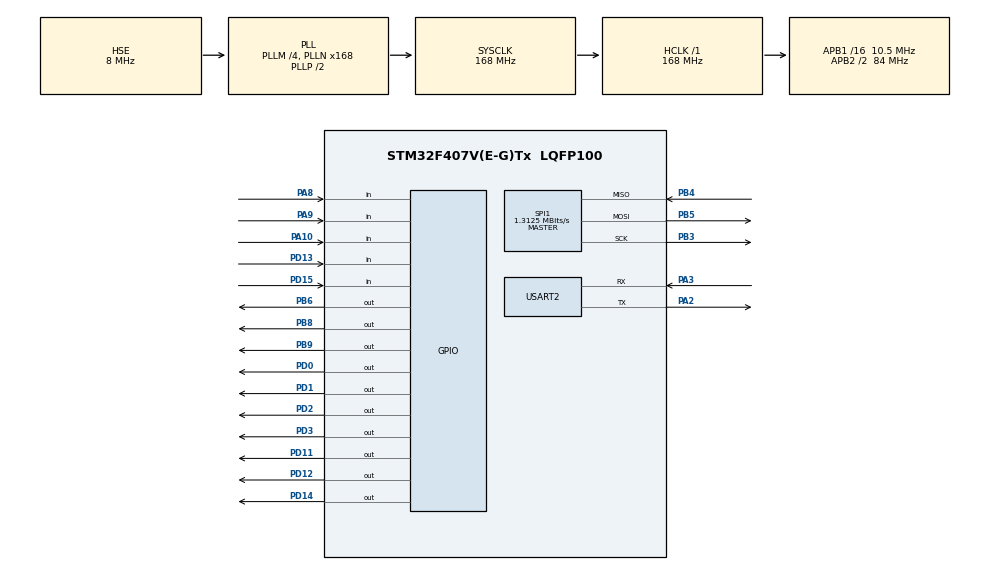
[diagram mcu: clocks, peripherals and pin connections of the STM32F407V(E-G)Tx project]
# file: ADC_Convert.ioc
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Mcu.Family=STM32F4
Mcu.Name=STM32F407V(E-G)Tx
Mcu.Package=LQFP100
NVIC.PriorityGroup=NVIC_PRIORITYGROUP_4
NVIC.RCC_IRQn=true\:0\:0\:false\:false\:true\:true\:false
PA10.Signal=GPIO_Input
PA2.Mode=Asynchronous
PA2.Signal=USART2_TX
PA3.Mode=Asynchronous
PA3.Signal=USART2_RX
PA8.Signal=GPIO_Input
PA9.Signal=GPIO_Input
PB3.Mode=Full_Duplex_Master
PB3.Signal=SPI1_SCK
PB4.Mode=Full_Duplex_Master
PB4.Signal=SPI1_MISO
PB5.Mode=Full_Duplex_Master
PB5.Signal=SPI1_MOSI
PB6.Signal=GPIO_Output
PB8.Signal=GPIO_Output
PB9.Signal=GPIO_Output
PC14-OSC32_IN.Mode=LSE-External-Oscillator
PC14-OSC32_IN.Signal=RCC_OSC32_IN
PC15-OSC32_OUT.Mode=LSE-External-Oscillator
PC15-OSC32_OUT.Signal=RCC_OSC32_OUT
PD0.Signal=GPIO_Output
PD1.Signal=GPIO_Output
PD11.Signal=GPIO_Output
PD12.Signal=GPIO_Output
PD13.Signal=GPIO_Input
PD14.Signal=GPIO_Output
PD15.Signal=GPIO_Input
PD2.Signal=GPIO_Output
PD3.Signal=GPIO_Output
PH0-OSC_IN.Mode=HSE-External-Oscillator
PH0-OSC_IN.Signal=RCC_OSC_IN
PH1-OSC_OUT.Mode=HSE-External-Oscillator
PH1-OSC_OUT.Signal=RCC_OSC_OUT
ProjectManager.HeapSize=0x200
ProjectManager.StackSize=0x400
ProjectManager.TargetToolchain=STM32CubeIDE
RCC.48MHZClocksFreq_Value=84000000
RCC.AHBFreq_Value=168000000
RCC.APB1CLKDivider=RCC_HCLK_DIV16
RCC.APB1Freq_Value=10500000
RCC.APB1TimFreq_Value=21000000
RCC.APB2CLKDivider=RCC_HCLK_DIV2
RCC.APB2Freq_Value=84000000
RCC.APB2TimFreq_Value=168000000
RCC.CortexFreq_Value=168000000
RCC.HCLKFreq_Value=168000000
RCC.HSE_VALUE=8000000
RCC.HSI_VALUE=16000000
RCC.PLLM=4
RCC.PLLN=168
RCC.PLLSourceVirtual=RCC_PLLSOURCE_HSE
RCC.SYSCLKFreq_VALUE=168000000
RCC.SYSCLKSource=RCC_SYSCLKSOURCE_PLLCLK
RCC.VCOOutputFreq_Value=336000000
SPI1.BaudRatePrescaler=SPI_BAUDRATEPRESCALER_64
SPI1.CalculateBaudRate=1.3125 MBits/s
SPI1.Direction=SPI_DIRECTION_2LINES
SPI1.Mode=SPI_MODE_MASTER
SPI1.VirtualType=VM_MASTER
USART2.VirtualMode=VM_ASYNC
board=custom

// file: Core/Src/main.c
/* USER CODE BEGIN Header */
/**
  ******************************************************************************
  * @file           : main.c
  * @brief          : Main program body
  ******************************************************************************
  * @attention
  *
  * <h2><center>&copy; Copyright (c) 2020 STMicroelectronics.
  * All rights reserved.</center></h2>
  *
  * This software component is licensed by ST under BSD 3-Clause license,
  * the "License"; You may not use this file except in compliance with the
  * License. You may obtain a copy of the License at:
  *                        opensource.org/licenses/BSD-3-Clause
  *
  ******************************************************************************
  */
/* USER CODE END Header */
#include "main.h"

/* USER CODE BEGIN Includes */

#include "ADC_ini.h"
#include "Usart_2_ini.h"
#include "string.h"
#include "lcd_ini.h"
#include "termo_spi.h"

/* USER CODE END Includes */

/* USER CODE BEGIN PM */
#define MAX_6675_CS_SET()   HAL_GPIO_WritePin(GPIOB, GPIO_PIN_6, GPIO_PIN_RESET)// незнанаю где chip select)
#define MAX_6675_CS_RESET() HAL_GPIO_WritePin(GPIOB, GPIO_PIN_6, GPIO_PIN_SET) // chip select  1

//проверка микросхемы

#define MAX_6675_OK    1
#define MAX_6675_ERROR 0

// ФУнкция возрата значение микросхемы

 uint8_t max6675_ReadReg (uint16_t *reg);

// перевод принятых данных в температуру
 float max6675_temp(uint16_t reg);

/* USER CODE END PM */

SPI_HandleTypeDef hspi1;

UART_HandleTypeDef huart2;

/* USER CODE BEGIN PV */
uint16_t ADC_Data; // gth

/* USER CODE END PV */

void SystemClock_Config(void);
static void MX_GPIO_Init(void);
static void MX_USART2_UART_Init(void);
static void MX_SPI1_Init(void);

/* USER CODE BEGIN 0 */
 uint8_t anshwer = 0;
 uint16_t reg = 0; // переменная  хранинщая данные регистра микросхемы
 float temper = 0; // переменая хранищая температуру
 //uint8_t string[10] {0};
/* USER CODE END 0 */

int main(void)
{
  /* USER CODE BEGIN 1 */
 float u;
 char str[]="tempature ds18b20";

  /* USER CODE END 1 */

  /* MCU Configuration--------------------------------------------------------*/

  /* Reset of all peripherals, Initializes the Flash interface and the Systick. */
  HAL_Init();

  /* Configure the system clock */
  SystemClock_Config();

  /* Initialize all configured peripherals */
  MX_GPIO_Init();
  MX_USART2_UART_Init();
  MX_SPI1_Init();
  /* USER CODE BEGIN 2 */
    LCD_INI();  // функция инилизация дисплея
    LCD_String(str); //

  /* USER CODE END 2 */

  /* Infinite loop */
  /* USER CODE BEGIN WHILE */
  while (1)
  {

	 u=((float)HAL_ADC_GetValue(&hadc1))*(float)3.3/(float)4096;//

	  usart_transmit();
	  HAL_Delay(200);
	   // прочитать данные с микросхемы
	 anshwer= max6675Readreg(&reg); // функция
	 // если все нормально прееобразуем в температуру
	 if(anshwer== MAX_6675_OK)
	 {

		temper = max6675Temp(reg);
		// отформатируем текст

		//sprintf((*char)string, "Tempature =%o,2f\n\r", temper );

		// если датчик оторпван
	 }
	 else
	 {
		// strintf ((char)string, "warning error"\n\r,temper);
	 }

    /* USER CODE END WHILE */

  }
}

void SystemClock_Config(void)
{
  RCC_OscInitTypeDef RCC_OscInitStruct = {0};
  RCC_ClkInitTypeDef RCC_ClkInitStruct = {0};

  /** Configure the main internal regulator output voltage
  */
  __HAL_RCC_PWR_CLK_ENABLE();
  __HAL_PWR_VOLTAGESCALING_CONFIG(PWR_REGULATOR_VOLTAGE_SCALE1);
  /** Initializes the RCC Oscillators according to the specified parameters
  * in the RCC_OscInitTypeDef structure.
  */
  RCC_OscInitStruct.OscillatorType = RCC_OSCILLATORTYPE_HSE;
  RCC_OscInitStruct.HSEState = RCC_HSE_ON;
  RCC_OscInitStruct.PLL.PLLState = RCC_PLL_ON;
  RCC_OscInitStruct.PLL.PLLSource = RCC_PLLSOURCE_HSE;
  RCC_OscInitStruct.PLL.PLLM = 4;
  RCC_OscInitStruct.PLL.PLLN = 168;
  RCC_OscInitStruct.PLL.PLLP = RCC_PLLP_DIV2;
  RCC_OscInitStruct.PLL.PLLQ = 4;
  if (HAL_RCC_OscConfig(&RCC_OscInitStruct) != HAL_OK)
  {
    Error_Handler();
  }
  /** Initializes the CPU, AHB and APB buses clocks
  */
  RCC_ClkInitStruct.ClockType = RCC_CLOCKTYPE_HCLK|RCC_CLOCKTYPE_SYSCLK
                              |RCC_CLOCKTYPE_PCLK1|RCC_CLOCKTYPE_PCLK2;
  RCC_ClkInitStruct.SYSCLKSource = RCC_SYSCLKSOURCE_PLLCLK;
  RCC_ClkInitStruct.AHBCLKDivider = RCC_SYSCLK_DIV1;
  RCC_ClkInitStruct.APB1CLKDivider = RCC_HCLK_DIV16;
  RCC_ClkInitStruct.APB2CLKDivider = RCC_HCLK_DIV2;

  if (HAL_RCC_ClockConfig(&RCC_ClkInitStruct, FLASH_LATENCY_5) != HAL_OK)
  {
    Error_Handler();
  }
}

static void MX_SPI1_Init(void)
{

  /* SPI1 parameter configuration*/
  hspi1.Instance = SPI1;
  hspi1.Init.Mode = SPI_MODE_MASTER;
  hspi1.Init.Direction = SPI_DIRECTION_2LINES;
  hspi1.Init.DataSize = SPI_DATASIZE_8BIT;
  hspi1.Init.CLKPolarity = SPI_POLARITY_LOW;
  hspi1.Init.CLKPhase = SPI_PHASE_1EDGE;
  hspi1.Init.NSS = SPI_NSS_SOFT;
  hspi1.Init.BaudRatePrescaler = SPI_BAUDRATEPRESCALER_64;
  hspi1.Init.FirstBit = SPI_FIRSTBIT_MSB;
  hspi1.Init.TIMode = SPI_TIMODE_DISABLE;
  hspi1.Init.CRCCalculation = SPI_CRCCALCULATION_DISABLE;
  hspi1.Init.CRCPolynomial = 10;
  if (HAL_SPI_Init(&hspi1) != HAL_OK)
  {
    Error_Handler();
  }

}

static void MX_USART2_UART_Init(void)
{

  huart2.Instance = USART2;
  huart2.Init.BaudRate = 115200;
  huart2.Init.WordLength = UART_WORDLENGTH_8B;
  huart2.Init.StopBits = UART_STOPBITS_1;
  huart2.Init.Parity = UART_PARITY_NONE;
  huart2.Init.Mode = UART_MODE_TX_RX;
  huart2.Init.HwFlowCtl = UART_HWCONTROL_NONE;
  huart2.Init.OverSampling = UART_OVERSAMPLING_16;
  if (HAL_UART_Init(&huart2) != HAL_OK)
  {
    Error_Handler();
  }

}

static void MX_GPIO_Init(void)
{
  GPIO_InitTypeDef GPIO_InitStruct = {0};

  /* GPIO Ports Clock Enable */
  __HAL_RCC_GPIOC_CLK_ENABLE();
  __HAL_RCC_GPIOH_CLK_ENABLE();
  __HAL_RCC_GPIOA_CLK_ENABLE();
  __HAL_RCC_GPIOD_CLK_ENABLE();
  __HAL_RCC_GPIOB_CLK_ENABLE();

  /*Configure GPIO pin Output Level */
  HAL_GPIO_WritePin(GPIOD, GPIO_PIN_11|GPIO_PIN_12|GPIO_PIN_14|GPIO_PIN_0
                          |GPIO_PIN_1|GPIO_PIN_2|GPIO_PIN_3, GPIO_PIN_RESET);

  /*Configure GPIO pin Output Level */
  HAL_GPIO_WritePin(GPIOB, GPIO_PIN_6|GPIO_PIN_8|GPIO_PIN_9, GPIO_PIN_RESET);

  /*Configure GPIO pins : PD11 PD12 PD14 PD0
                           PD1 PD2 PD3 */
  GPIO_InitStruct.Pin = GPIO_PIN_11|GPIO_PIN_12|GPIO_PIN_14|GPIO_PIN_0
                          |GPIO_PIN_1|GPIO_PIN_2|GPIO_PIN_3;
  GPIO_InitStruct.Mode = GPIO_MODE_OUTPUT_PP;
  GPIO_InitStruct.Pull = GPIO_NOPULL;
  GPIO_InitStruct.Speed = GPIO_SPEED_FREQ_LOW;
  HAL_GPIO_Init(GPIOD, &GPIO_InitStruct);

  /*Configure GPIO pins : PD13 PD15 */
  GPIO_InitStruct.Pin = GPIO_PIN_13|GPIO_PIN_15;
  GPIO_InitStruct.Mode = GPIO_MODE_INPUT;
  GPIO_InitStruct.Pull = GPIO_NOPULL;
  HAL_GPIO_Init(GPIOD, &GPIO_InitStruct);

  /*Configure GPIO pins : PA8 PA9 PA10 */
  GPIO_InitStruct.Pin = GPIO_PIN_8|GPIO_PIN_9|GPIO_PIN_10;
  GPIO_InitStruct.Mode = GPIO_MODE_INPUT;
  GPIO_InitStruct.Pull = GPIO_NOPULL;
  HAL_GPIO_Init(GPIOA, &GPIO_InitStruct);

  /*Configure GPIO pins : PB6 PB8 PB9 */
  GPIO_InitStruct.Pin = GPIO_PIN_6|GPIO_PIN_8|GPIO_PIN_9;
  GPIO_InitStruct.Mode = GPIO_MODE_OUTPUT_PP;
  GPIO_InitStruct.Pull = GPIO_NOPULL;
  GPIO_InitStruct.Speed = GPIO_SPEED_FREQ_LOW;
  HAL_GPIO_Init(GPIOB, &GPIO_InitStruct);

}

/* USER CODE BEGIN 4 */

uint8_t max6675_ReadReg (uint16_t *reg)
{

	 //возращаемые значение функции hal
	 HAL_StatusTypeDef hal_answer= HAL_ERROR;

	 // массив для полученных данных
	 uint8_t tempch[2]= {0};

	 //выбор микросхемы

	 MAX_6675_CS_SET(); // низкий уровень

	 // Чтение микросхемы
	hal_answer= HAL_SPI_Receive(&hspi1, tempch , 2, 100);

	MAX_6675_CS_RESET();

	 if (hal_answer == HAL_OK)
	 {
		 // проверка на подключение датчика
		 if(tempch[1]& 0x04) return  MAX_6675_ERROR 0;

		 // преобразование полученных данных

		 *reg (uint_16)(tempch>>3); //  сдвигаем на пять бит права
		 *reg  (uint_16)(tempch<<5);

		 return MAX_6675_OK;
	 }

	 return  MAX_6675_ERROR 0;

}

/* USER CODE END 4 */

void Error_Handler(void)
{
}

/************************ (C) COPYRIGHT STMicroelectronics *****END OF FILE****/
